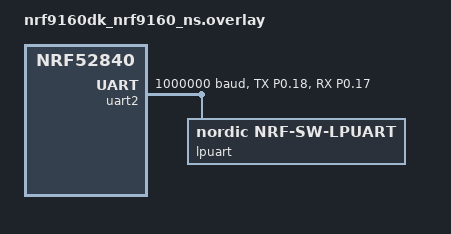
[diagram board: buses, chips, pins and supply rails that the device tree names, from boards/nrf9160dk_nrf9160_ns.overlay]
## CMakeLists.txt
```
# SPDX-License-Identifier: LicenseRef-Nordic-5-Clause

cmake_minimum_required(VERSION 3.13.1)
find_package(Zephyr REQUIRED HINTS $ENV{ZEPHYR_BASE})
project(mesh_lte_gateway)

set(dfu_common_dir ${ZEPHYR_NRF_MODULE_DIR}/samples/bluetooth/mesh/dfu/common/src)

include_directories(
	include/
	${dfu_common_dir}
	${ZEPHYR_NRF_MODULE_DIR}/samples/bluetooth/mesh/common
)

FILE(GLOB app_sources src/*.c)
target_sources(app PRIVATE ${app_sources}
	${dfu_common_dir}/dfu_target.c
)
```

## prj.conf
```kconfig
#
# Copyright (c) 2022 Nordic Semiconductor ASA
#
# SPDX-License-Identifier: LicenseRef-Nordic-5-Clause
#

#CONFIG_NCS_SAMPLES_DEFAULTS=y

CONFIG_ASSERT=y
CONFIG_ASSERT_VERBOSE=y

# FIXME: Needed for dfu client model
CONFIG_ENTROPY_GENERATOR=y

# General configuration
CONFIG_SYSTEM_WORKQUEUE_STACK_SIZE=2048
CONFIG_NVS=y
CONFIG_FLASH=y
CONFIG_FLASH_MAP=y
CONFIG_FLASH_SHELL=n
CONFIG_SETTINGS=y
CONFIG_NVS_LOOKUP_CACHE=y
CONFIG_SETTINGS_NVS_NAME_CACHE=y
CONFIG_HWINFO=y
CONFIG_DK_LIBRARY=y
CONFIG_LOG=y
CONFIG_LOG_MODE_DEFERRED=y
CONFIG_LOG_BACKEND_UART=y

# Partial erase is not supported on nRF9160
CONFIG_SOC_FLASH_NRF_PARTIAL_ERASE=n

# FIXME: Check if needed
CONFIG_FPU=y

# Useful for debugging
CONFIG_RESET_ON_FATAL_ERROR=n

# Enable TF-M logging on UART0
CONFIG_TFM_SECURE_UART0=y
CONFIG_TFM_LOG_LEVEL_SILENCE=n
CONFIG_TFM_EXCEPTION_INFO_DUMP=y
CONFIG_TFM_SPM_LOG_LEVEL_DEBUG=y

# UART2 towards nRF52840
CONFIG_UART_INTERRUPT_DRIVEN=y
CONFIG_NRF_SW_LPUART=y
CONFIG_NRF_SW_LPUART_INT_DRIVEN=y
CONFIG_UART_2_ASYNC=y
CONFIG_UART_2_INTERRUPT_DRIVEN=n
CONFIG_UART_2_NRF_HW_ASYNC=y
CONFIG_UART_2_NRF_HW_ASYNC_TIMER=2

#CONFIG_NRF_SW_LPUART_MAX_PACKET_SIZE=255
#CONFIG_NRF_SW_LPUART_INT_DRV_TX_BUF_SIZE=255

# Disable Modem traces
CONFIG_NRF_MODEM_LIB_TRACE=n
CONFIG_TFM_SECURE_UART1=n

# Bootloader configuration
CONFIG_STREAM_FLASH=y
CONFIG_IMG_MANAGER=y
CONFIG_BOOTLOADER_MCUBOOT=y
CONFIG_MCUBOOT_IMG_MANAGER=y
CONFIG_MCUBOOT_GENERATE_CONFIRMED_IMAGE=y
CONFIG_MCUBOOT_IMGTOOL_SIGN_VERSION="1.0.0+0"
CONFIG_REBOOT=y

# Bluetooth configuration
CONFIG_BT=y
CONFIG_BT_HCI=y
CONFIG_BT_H4=y
CONFIG_BT_WAIT_NOP=y
CONFIG_BT_DEVICE_NAME="Mesh DFU Distributor"
CONFIG_BT_L2CAP_TX_BUF_COUNT=8
CONFIG_BT_OBSERVER=y
CONFIG_BT_PERIPHERAL=y
CONFIG_BT_PHY_UPDATE=n
CONFIG_BT_SETTINGS=y
CONFIG_BT_ECC=n
CONFIG_BT_TINYCRYPT_ECC=y

CONFIG_BT_HOST_CRYPTO=y
CONFIG_BT_HOST_CRYPTO_PRNG=y

CONFIG_BT_BUF_EVT_RX_SIZE=255
CONFIG_BT_BUF_EVT_RX_COUNT=10
CONFIG_BT_BUF_EVT_DISCARDABLE_SIZE=58
CONFIG_BT_BUF_CMD_TX_SIZE=255

# Bluetooth Mesh configuration
CONFIG_BT_MESH=y
CONFIG_BT_MESH_RELAY=y
CONFIG_BT_MESH_FRIEND=y
CONFIG_BT_MESH_MSG_CACHE_SIZE=256
CONFIG_BT_MESH_ADV_BUF_COUNT=128
CONFIG_BT_MESH_TX_SEG_MAX=10
CONFIG_BT_MESH_RX_SEG_MAX=10
CONFIG_BT_MESH_TX_SEG_MSG_COUNT=2
CONFIG_BT_MESH_RX_SEG_MSG_COUNT=2
CONFIG_BT_MESH_PB_GATT=y
CONFIG_BT_MESH_PB_ADV=y
CONFIG_BT_MESH_GATT_PROXY=y
CONFIG_BT_MESH_SHELL=y
CONFIG_BT_MESH_DK_PROV=y
CONFIG_BT_MESH_PROXY_USE_DEVICE_NAME=y
CONFIG_BT_MESH_MODEL_EXTENSIONS=y
CONFIG_BT_MESH_USES_TINYCRYPT=y

# Bluetooth Mesh models
CONFIG_BT_MESH_BLOB_SRV=y
CONFIG_BT_MESH_BLOB_IO_FLASH=y
CONFIG_BT_MESH_BLOB_CLI=y
CONFIG_BT_MESH_DFU_SRV=y
CONFIG_BT_MESH_DFU_METADATA=y
CONFIG_BT_MESH_DFU_CLI=y
CONFIG_BT_MESH_DFD_SRV=y
CONFIG_BT_MESH_SAR_CFG_SRV=y

# Reconfigure transport SAR for DFU
# Increase probability of delivering segmented messages
CONFIG_BT_MESH_SAR_TX_UNICAST_RETRANS_COUNT=0x5
CONFIG_BT_MESH_SAR_TX_UNICAST_RETRANS_WITHOUT_PROG_COUNT=0x3
# Reduce amount of generated SegAcks
CONFIG_BT_MESH_SAR_RX_ACK_RETRANS_COUNT=0x0
CONFIG_BT_MESH_SAR_RX_ACK_DELAY_INC=0x7
CONFIG_BT_MESH_SAR_RX_SEG_INT_STEP=0xf
CONFIG_BT_MESH_SAR_RX_SEG_THRESHOLD=0x1f

# Debug configuration
# BT logs to disable if don't have enough space in flash
#CONFIG_BT_DEBUG_NONE=y
#CONFIG_BT_LOG_LEVEL_OFF=y
#
# Mesh logs
#CONFIG_BT_MESH_LOG_LEVEL_DBG=y
#CONFIG_BT_MESH_MODEL_LOG_LEVEL_DBG=y
#CONFIG_BT_MESH_DFU_LOG_LEVEL_DBG=y
CONFIG_BT_MESH_PROVISIONEE_LOG_LEVEL_INF=y

# Shell support
CONFIG_SHELL_BACKEND_SERIAL=n
CONFIG_SHELL_BACKEND_RTT=y

# Dummy backend to be used by cloud
CONFIG_SHELL_BACKEND_DUMMY=y
```

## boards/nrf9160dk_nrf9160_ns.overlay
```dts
/*
 * Copyright (c) 2024 Nordic Semiconductor ASA
 *
 * SPDX-License-Identifier: LicenseRef-Nordic-5-Clause
 */
#include <nrf9160dk_nrf52840_reset_on_if9.dtsi>

/ {
	chosen {
		zephyr,bt-uart=&lpuart;
	};
};

&gpiote {
	interrupts = <49 NRF_DEFAULT_IRQ_PRIORITY>;
};

&uart2 {
	current-speed = <1000000>;
	status = "okay";
	/delete-property/ rts-pin;
	/delete-property/ cts-pin;
	/delete-property/ hw-flow-control;

	pinctrl-0 = <&uart2_default_alt>;
	pinctrl-1 = <&uart2_sleep_alt>;
	lpuart: nrf-sw-lpuart {
		compatible = "nordic,nrf-sw-lpuart";
		status = "okay";
		req-pin = <21>; /* <&interface_to_nrf52840 3 0>; */
		rdy-pin = <19>; /* <&interface_to_nrf52840 2 0>; */
	};
};
&uart1 {
	status = "disabled";
};

&pinctrl {
	uart2_default_alt: uart2_default_alt {
		group1 {
			psels = <NRF_PSEL(UART_TX, 0, 18)>,
				<NRF_PSEL(UART_RX, 0, 17)>;
		};
	};

	uart2_sleep_alt: uart2_sleep_alt {
		group1 {
			psels = <NRF_PSEL(UART_TX, 0, 18)>,
				<NRF_PSEL(UART_RX, 0, 17)>;
			low-power-enable;
		};
	};
};
```

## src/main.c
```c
/*
 * Copyright (c) 2022 Nordic Semiconductor ASA
 *
 * SPDX-License-Identifier: LicenseRef-Nordic-5-Clause
 */

#include <zephyr/kernel.h>
#include <zephyr/bluetooth/bluetooth.h>
#include <zephyr/bluetooth/mesh.h>
#include <bluetooth/mesh/dk_prov.h>
#include <dk_buttons_and_leds.h>

#include "dfu_target.h"
#include "model_handler.h"

static void bt_ready(int err)
{
	if (err) {
		printk("Bluetooth init failed (err %d)\n", err);
		return;
	}

	printk("Bluetooth initialized\n");

	err = dk_leds_init();
	if (err) {
		printk("Initializing LEDs failed (err %d)\n", err);
		return;
	}

	err = bt_mesh_init(bt_mesh_dk_prov_init(), model_handler_init());
	if (err) {
		printk("Initializing mesh failed (err %d)\n", err);
		return;
	}

	if (IS_ENABLED(CONFIG_SETTINGS)) {
		settings_load();
	}

	bt_mesh_prov_enable(BT_MESH_PROV_ADV | BT_MESH_PROV_GATT);

	printk("Mesh initialized\n");

	/* Confirm the image and mark it as applied after the mesh started. */
	dfu_target_image_confirm();
}

int main(void)
{
	int err;

	printk("Initializing...\n");

	err = bt_enable(bt_ready);
	if (err) {
		printk("Bluetooth init failed (err %d)\n", err);
		return 2;
	}

	return 0;
}
```

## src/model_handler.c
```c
/*
 * Copyright (c) 2024 Nordic Semiconductor ASA
 *
 * SPDX-License-Identifier: LicenseRef-Nordic-5-Clause
 */

#include <zephyr/bluetooth/mesh.h>
#include <zephyr/storage/flash_map.h>
#include <bluetooth/mesh/dk_prov.h>
#include <dk_buttons_and_leds.h>

#include "smp_bt.h"
#include "dfu_dist.h"
#include "dfu_target.h"

static struct bt_mesh_blob_io_flash blob_flash_stream;

/* Set up a repeating delayed work to blink the DK's LEDs when attention is
 * requested.
 */
static struct k_work_delayable attention_blink_work;
static bool attention;

static void attention_blink(struct k_work *work)
{
	static int idx;
	const uint8_t pattern[] = {
#if DT_NODE_EXISTS(DT_ALIAS(led0))
		BIT(0),
#endif
#if DT_NODE_EXISTS(DT_ALIAS(led1))
		BIT(1),
#endif
#if DT_NODE_EXISTS(DT_ALIAS(led2))
		BIT(2),
#endif
#if DT_NODE_EXISTS(DT_ALIAS(led3))
		BIT(3),
#endif
	};

	if (attention) {
		dk_set_leds(pattern[idx++ % ARRAY_SIZE(pattern)]);
		k_work_reschedule(&attention_blink_work, K_MSEC(30));
	} else {
		dk_set_leds(DK_NO_LEDS_MSK);
	}
}

static void attention_on(const struct bt_mesh_model *mod)
{
	attention = true;
	k_work_reschedule(&attention_blink_work, K_NO_WAIT);
}

static void attention_off(const struct bt_mesh_model *mod)
{
	/* Will stop rescheduling blink timer */
	attention = false;
}

static const struct bt_mesh_health_srv_cb health_srv_cb = {
	.attn_on = attention_on,
	.attn_off = attention_off,
};

static struct bt_mesh_health_srv health_srv = {
	.cb = &health_srv_cb,
};

BT_MESH_HEALTH_PUB_DEFINE(health_pub, 0);

static struct bt_mesh_model primary_models[] = {
	BT_MESH_MODEL_CFG_SRV,
	BT_MESH_MODEL_HEALTH_SRV(&health_srv, &health_pub),
	BT_MESH_MODEL_DFD_SRV(&dfd_srv),
};

static struct bt_mesh_model primary_vnd_models[] = {
#if CONFIG_BT_MESH_LE_PAIR_RESP
	BT_MESH_MODEL_LE_PAIR_RESP,
#endif
};

static struct bt_mesh_model secondary_models[] = {
	BT_MESH_MODEL_DFU_SRV(&dfu_srv),
};

static struct bt_mesh_elem elements[] = {
	BT_MESH_ELEM(1, primary_models, primary_vnd_models),
	BT_MESH_ELEM(2, secondary_models, BT_MESH_MODEL_NONE),
};

static const struct bt_mesh_comp comp = {
	.cid = CONFIG_BT_COMPANY_ID,
	.elem = elements,
	.elem_count = ARRAY_SIZE(elements),
};

const struct bt_mesh_comp *model_handler_init(void)
{
	int err;

	err = bt_mesh_blob_io_flash_init(&blob_flash_stream, FIXED_PARTITION_ID(slot1_partition),
					 0);
	if (err) {
		printk("Failed to init BLOB IO Flash module: %d\n", err);
		return NULL;
	}

	k_work_init_delayable(&attention_blink_work, attention_blink);
	dfu_distributor_init(&blob_flash_stream);
	dfu_target_init(&blob_flash_stream);

	return &comp;
}
```
